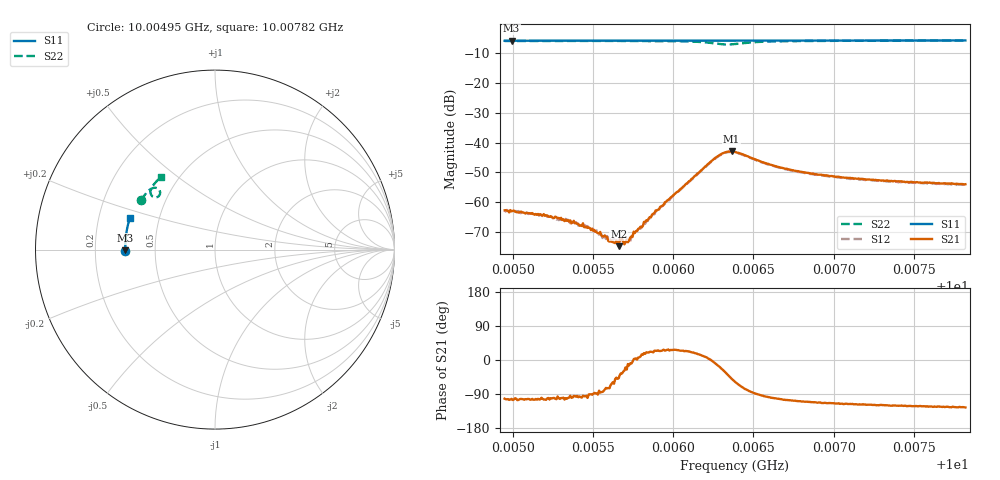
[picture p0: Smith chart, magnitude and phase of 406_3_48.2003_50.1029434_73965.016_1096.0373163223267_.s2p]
#  HZ  S  RI  R  50.00
! Rohde & Schwarz Vector Network Analyzer
! Rohde-Schwarz,ZNB20-2Port,1311601062101988,3.16
! Created: UTC 3/20/2024, 11:54:14 AM
! freq[Hz]  re:S11  im:S11  re:S21  im:S21  re:S12  im:S12  re:S22  im:S22
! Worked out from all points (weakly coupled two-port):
!   401 points, 10.00495 GHz to 10.00782 GHz, reference 50 ohm
!   highest |S21| = -42.98 dB at 10.00636 GHz (marker M1); lowest = -74.6 dB at 10.00566 GHz (marker M2)
!   lowest |S11| = -6.0 dB at 10.00499 GHz (marker M3), VSWR 3.00, Z = 16.7 - j0.131 ohm
!   |S11| at or under -10 dB: nowhere
!   |S22| runs from -7.3 to -6.0 dB; largest |S21 - S12| = 0.00042
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1.0004948e10  -0.4995 -0.00567  -0.000156 -0.000722  -0.000152 -0.000718  -0.4112 0.2744
1.0004991e10  -0.4995 -0.00294  -0.000155 -0.000694  -0.000138 -0.000695  -0.4096 0.277
1.0005221e10  -0.5 0.0121  -0.000103 -0.000569  -7.37e-05 -0.000583  -0.401 0.2905
1.0005278e10  -0.4999 0.0158  -5.9e-05 -0.000544  -6.4e-05 -0.000534  -0.3987 0.294
1.0005329e10  -0.4998 0.019  -9.49e-05 -0.000508  -9.14e-05 -0.000523  -0.3967 0.2969
1.0005429e10  -0.4999 0.0256  -6.6e-05 -0.000399  -2.94e-05 -0.000426  -0.3924 0.3029
1.000553e10  -0.4997 0.0321  -6.62e-06 -0.000305  4.26e-05 -0.0003  -0.3877 0.3091
1.0005609e10  -0.4995 0.0372  9.23e-05 -0.000211  9.5e-05 -0.000203  -0.3838 0.3139
1.0005645e10  -0.4993 0.0395  0.000159 -0.000167  0.000156 -0.000173  -0.3821 0.3162
1.0005659e10  -0.4993 0.0405  0.000124 -0.000139  0.000142 -0.000148  -0.3811 0.3171
1.0005709e10  -0.4991 0.0437  0.000212 -0.000101  0.000243 -2.92e-05  -0.3785 0.3201
1.0005731e10  -0.4989 0.0451  0.000255 -3.93e-05  0.000216 -3.79e-05  -0.3774 0.3215
1.0005767e10  -0.4989 0.0474  0.000332 2.46e-05  0.000319 3.92e-05  -0.3753 0.3237
1.0005911e10  -0.4981 0.0568  0.000695 0.000308  0.000659 0.000357  -0.365 0.3331
1.0006256e10  -0.4953 0.0791  0.00533 -0.000629  0.00524 -0.000357  -0.3094 0.3308
1.0006313e10  -0.4947 0.0823  0.00591 -0.00308  0.00593 -0.00276  -0.3069 0.3082
1.0006363e10  -0.4943 0.0854  0.00463 -0.00537  0.00481 -0.00504  -0.3219 0.2926
1.0006385e10  -0.4943 0.0866  0.00372 -0.00587  0.00395 -0.00555  -0.3306 0.2909
1.0006629e10  -0.4922 0.1023  -0.000752 -0.00402  -0.000561 -0.00399  -0.3588 0.3299
1.0006866e10  -0.4895 0.1175  -0.00109 -0.0028  -0.000958 -0.0028  -0.3484 0.3529
1.0007348e10  -0.4823 0.1477  -0.00114 -0.00198  -0.00101 -0.00197  -0.3242 0.3816
1.0007822e10  -0.4733 0.1768  -0.00116 -0.00165  -0.00105 -0.00167  -0.3002 0.4039
